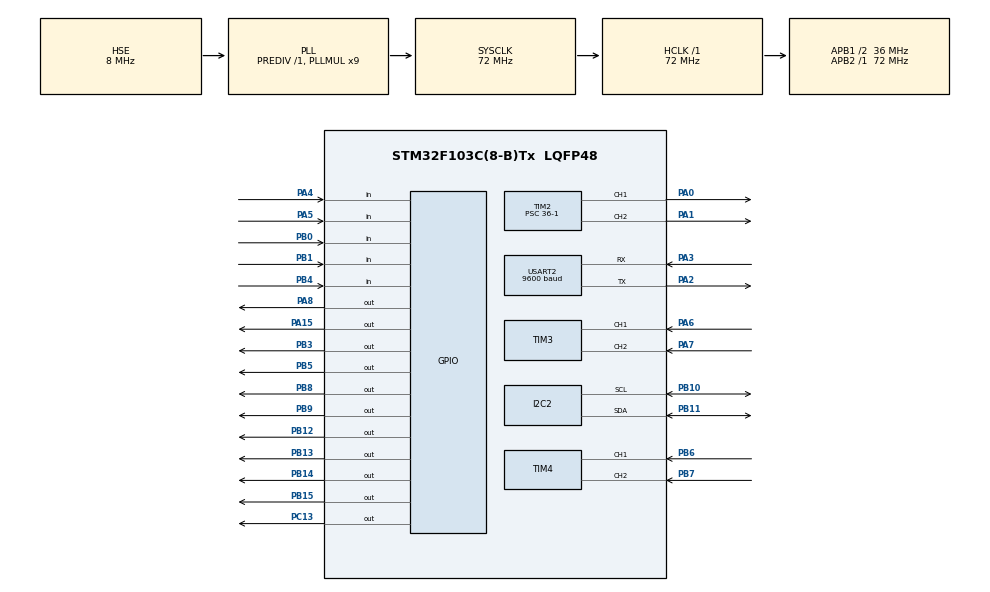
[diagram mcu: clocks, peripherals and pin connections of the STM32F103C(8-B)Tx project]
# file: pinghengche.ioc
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Dma.Request0=USART2_RX
Dma.Request1=USART2_TX
Dma.USART2_RX.0.Direction=DMA_PERIPH_TO_MEMORY
Dma.USART2_RX.0.Instance=DMA1_Channel6
Dma.USART2_RX.0.MemDataAlignment=DMA_MDATAALIGN_BYTE
Dma.USART2_RX.0.MemInc=DMA_MINC_ENABLE
Dma.USART2_RX.0.Mode=DMA_CIRCULAR
Dma.USART2_RX.0.PeriphDataAlignment=DMA_PDATAALIGN_BYTE
Dma.USART2_RX.0.PeriphInc=DMA_PINC_DISABLE
Dma.USART2_RX.0.Priority=DMA_PRIORITY_LOW
Dma.USART2_TX.1.Direction=DMA_MEMORY_TO_PERIPH
Dma.USART2_TX.1.Instance=DMA1_Channel7
Dma.USART2_TX.1.MemDataAlignment=DMA_MDATAALIGN_BYTE
Dma.USART2_TX.1.MemInc=DMA_MINC_ENABLE
Dma.USART2_TX.1.Mode=DMA_NORMAL
Dma.USART2_TX.1.PeriphDataAlignment=DMA_PDATAALIGN_BYTE
Dma.USART2_TX.1.PeriphInc=DMA_PINC_DISABLE
Dma.USART2_TX.1.Priority=DMA_PRIORITY_LOW
FREERTOS.Tasks01=OLED_Task,24,128,OLEDTask,Default,NULL,Dynamic,NULL,NULL;KEY_Task,40,128,KEYTask,Default,NULL,Dynamic,NULL,NULL;AnglePID_Task,24,128,AnglePIDTask,Default,NULL,Dynamic,NULL,NULL;SpeedPID_Task,24,128,SpeedPIDTask,Default,NULL,Dynamic,NULL,NULL;SERIAL_Task,24,256,SERIALTask,Default,NULL,Dynamic,NULL,NULL;Turn_Task,24,128,TurnTask,Default,NULL,Dynamic,NULL,NULL;NRF_Task,24,128,NRFTask,Default,NULL,Dynamic,NULL,NULL
FREERTOS.configTOTAL_HEAP_SIZE=8192
Mcu.Family=STM32F1
Mcu.Name=STM32F103C(8-B)Tx
Mcu.Package=LQFP48
NVIC.DMA1_Channel6_IRQn=true\:5\:0\:false\:false\:true\:true\:false\:true\:true
NVIC.DMA1_Channel7_IRQn=true\:5\:0\:false\:false\:true\:true\:false\:true\:true
NVIC.PriorityGroup=NVIC_PRIORITYGROUP_4
NVIC.TIM1_UP_IRQn=true\:15\:0\:false\:false\:true\:false\:false\:true\:true
NVIC.TimeBase=TIM1_UP_IRQn
NVIC.TimeBaseIP=TIM1
NVIC.USART2_IRQn=true\:5\:0\:false\:false\:true\:true\:true\:true\:true
PA0-WKUP.Signal=S_TIM2_CH1_ETR
PA1.Signal=S_TIM2_CH2
PA13.Mode=Serial_Wire
PA13.Signal=SYS_JTMS-SWDIO
PA14.Mode=Serial_Wire
PA14.Signal=SYS_JTCK-SWCLK
PA15.Signal=GPIO_Output
PA2.Mode=Asynchronous
PA2.Signal=USART2_TX
PA3.Mode=Asynchronous
PA3.Signal=USART2_RX
PA4.GPIO_PuPd=GPIO_PULLUP
PA4.Signal=GPIO_Input
PA5.GPIO_PuPd=GPIO_PULLUP
PA5.Signal=GPIO_Input
PA6.GPIO_PuPd=GPIO_PULLUP
PA6.Signal=S_TIM3_CH1
PA7.GPIO_PuPd=GPIO_PULLUP
PA7.Signal=S_TIM3_CH2
PA8.Signal=GPIO_Output
PB0.GPIO_PuPd=GPIO_PULLUP
PB0.Signal=GPIO_Input
PB1.GPIO_PuPd=GPIO_PULLUP
PB1.Signal=GPIO_Input
PB10.Mode=I2C
PB10.Signal=I2C2_SCL
PB11.Mode=I2C
PB11.Signal=I2C2_SDA
PB12.GPIO_Speed=GPIO_SPEED_FREQ_HIGH
PB12.PinState=GPIO_PIN_SET
PB12.Signal=GPIO_Output
PB13.GPIO_Speed=GPIO_SPEED_FREQ_HIGH
PB13.PinState=GPIO_PIN_SET
PB13.Signal=GPIO_Output
PB14.GPIO_Speed=GPIO_SPEED_FREQ_HIGH
PB14.PinState=GPIO_PIN_SET
PB14.Signal=GPIO_Output
PB15.GPIO_Speed=GPIO_SPEED_FREQ_HIGH
PB15.PinState=GPIO_PIN_SET
PB15.Signal=GPIO_Output
PB3.Signal=GPIO_Output
PB4.GPIO_PuPd=GPIO_PULLUP
PB4.Signal=GPIO_Input
PB5.Signal=GPIO_Output
PB6.Signal=S_TIM4_CH1
PB7.Signal=S_TIM4_CH2
PB8.GPIO_ModeDefaultOutputPP=GPIO_MODE_OUTPUT_OD
PB8.GPIO_PuPd=GPIO_NOPULL
PB8.GPIO_Speed=GPIO_SPEED_FREQ_HIGH
PB8.PinState=GPIO_PIN_SET
PB8.Signal=GPIO_Output
PB9.GPIO_ModeDefaultOutputPP=GPIO_MODE_OUTPUT_OD
PB9.GPIO_PuPd=GPIO_NOPULL
PB9.GPIO_Speed=GPIO_SPEED_FREQ_HIGH
PB9.PinState=GPIO_PIN_SET
PB9.Signal=GPIO_Output
PC13-TAMPER-RTC.GPIO_Speed=GPIO_SPEED_FREQ_HIGH
PC13-TAMPER-RTC.PinState=GPIO_PIN_SET
PC13-TAMPER-RTC.Signal=GPIO_Output
PC14-OSC32_IN.Mode=LSE-External-Oscillator
PC14-OSC32_IN.Signal=RCC_OSC32_IN
PC15-OSC32_OUT.Mode=LSE-External-Oscillator
PC15-OSC32_OUT.Signal=RCC_OSC32_OUT
PD0-OSC_IN.Mode=HSE-External-Oscillator
PD0-OSC_IN.Signal=RCC_OSC_IN
PD1-OSC_OUT.Mode=HSE-External-Oscillator
PD1-OSC_OUT.Signal=RCC_OSC_OUT
ProjectManager.HeapSize=0x200
ProjectManager.StackSize=0x400
ProjectManager.TargetToolchain=MDK-ARM V5.32
RCC.AHBFreq_Value=72000000
RCC.APB1CLKDivider=RCC_HCLK_DIV2
RCC.APB1Freq_Value=36000000
RCC.APB1TimFreq_Value=72000000
RCC.APB2Freq_Value=72000000
RCC.APB2TimFreq_Value=72000000
RCC.HCLKFreq_Value=72000000
RCC.PLLMUL=RCC_PLL_MUL9
RCC.PLLSourceVirtual=RCC_PLLSOURCE_HSE
RCC.SYSCLKFreq_VALUE=72000000
RCC.SYSCLKSource=RCC_SYSCLKSOURCE_PLLCLK
RCC.USBFreq_Value=72000000
SH.S_TIM2_CH1_ETR.0=TIM2_CH1,PWM Generation1 CH1
SH.S_TIM2_CH2.0=TIM2_CH2,PWM Generation2 CH2
SH.S_TIM3_CH1.0=TIM3_CH1,Encoder_Interface
SH.S_TIM3_CH2.0=TIM3_CH2,Encoder_Interface
SH.S_TIM4_CH1.0=TIM4_CH1,Encoder_Interface
SH.S_TIM4_CH2.0=TIM4_CH2,Encoder_Interface
TIM2.Channel-PWM\ Generation1\ CH1=TIM_CHANNEL_1
TIM2.Channel-PWM\ Generation2\ CH2=TIM_CHANNEL_2
TIM2.Period=99
TIM2.Prescaler=36-1
TIM3.IC2Filter=15
TIM4.IC1Filter=15
USART2.BaudRate=9600
USART2.VirtualMode=VM_ASYNC
VP_FREERTOS_VS_CMSIS_V2.Mode=CMSIS_V2
VP_SYS_VS_tim1.Mode=TIM1
board=custom

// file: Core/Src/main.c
/* USER CODE BEGIN Header */
/**
  ******************************************************************************
  * @file           : main.c
  * @brief          : Main program body
  ******************************************************************************
  * @attention
  *
  * Copyright (c) 2026 STMicroelectronics.
  * All rights reserved.
  *
  * This software is licensed under terms that can be found in the LICENSE file
  * in the root directory of this software component.
  * If no LICENSE file comes with this software, it is provided AS-IS.
  *
  ******************************************************************************
  */
/* USER CODE END Header */
#include "main.h"
#include "cmsis_os.h"
#include "dma.h"
#include "i2c.h"
#include "tim.h"
#include "usart.h"
#include "gpio.h"

/* USER CODE BEGIN Includes */
#include "OLED/OLED.h"
#include "MOTOR/MOTOR.h"
#include "ENCODER/ENCODER.h"
#include "SERIAL/SERIAL.h"
#include "MPU6050/MPU6050.h"
/* USER CODE END Includes */

void SystemClock_Config(void);
void MX_FREERTOS_Init(void);

int main(void)
{

  /* MCU Configuration--------------------------------------------------------*/

  /* Reset of all peripherals, Initializes the Flash interface and the Systick. */
  HAL_Init();

  /* Configure the system clock */
  SystemClock_Config();

  /* Initialize all configured peripherals */
  MX_GPIO_Init();
  MX_DMA_Init();
  MX_TIM2_Init();
  MX_TIM3_Init();
  MX_I2C2_Init();
  MX_TIM4_Init();
  MX_USART2_UART_Init();
  /* USER CODE BEGIN 2 */
	OLED_Init();
	Motor_Init();
	Encoder_Init();
	MPU6050_Init();
	Serial_Init();

  /* USER CODE END 2 */

  /* Init scheduler */
  osKernelInitialize();  /* Call init function for freertos objects (in cmsis_os2.c) */
  MX_FREERTOS_Init();

  /* Start scheduler */
  osKernelStart();

  /* We should never get here as control is now taken by the scheduler */

  /* Infinite loop */
  while (1)
  {

  }
}

void SystemClock_Config(void)
{
  RCC_OscInitTypeDef RCC_OscInitStruct = {0};
  RCC_ClkInitTypeDef RCC_ClkInitStruct = {0};

  /** Initializes the RCC Oscillators according to the specified parameters
  * in the RCC_OscInitTypeDef structure.
  */
  RCC_OscInitStruct.OscillatorType = RCC_OSCILLATORTYPE_HSE;
  RCC_OscInitStruct.HSEState = RCC_HSE_ON;
  RCC_OscInitStruct.HSEPredivValue = RCC_HSE_PREDIV_DIV1;
  RCC_OscInitStruct.HSIState = RCC_HSI_ON;
  RCC_OscInitStruct.PLL.PLLState = RCC_PLL_ON;
  RCC_OscInitStruct.PLL.PLLSource = RCC_PLLSOURCE_HSE;
  RCC_OscInitStruct.PLL.PLLMUL = RCC_PLL_MUL9;
  if (HAL_RCC_OscConfig(&RCC_OscInitStruct) != HAL_OK)
  {
    Error_Handler();
  }

  /** Initializes the CPU, AHB and APB buses clocks
  */
  RCC_ClkInitStruct.ClockType = RCC_CLOCKTYPE_HCLK|RCC_CLOCKTYPE_SYSCLK
                              |RCC_CLOCKTYPE_PCLK1|RCC_CLOCKTYPE_PCLK2;
  RCC_ClkInitStruct.SYSCLKSource = RCC_SYSCLKSOURCE_PLLCLK;
  RCC_ClkInitStruct.AHBCLKDivider = RCC_SYSCLK_DIV1;
  RCC_ClkInitStruct.APB1CLKDivider = RCC_HCLK_DIV2;
  RCC_ClkInitStruct.APB2CLKDivider = RCC_HCLK_DIV1;

  if (HAL_RCC_ClockConfig(&RCC_ClkInitStruct, FLASH_LATENCY_2) != HAL_OK)
  {
    Error_Handler();
  }
}

void HAL_TIM_PeriodElapsedCallback(TIM_HandleTypeDef *htim)
{
  if (htim->Instance == TIM1)
  {
    HAL_IncTick();
  }
}

void Error_Handler(void)
{
  __disable_irq();
  while (1)
  {
  }
}

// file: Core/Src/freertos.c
/* USER CODE BEGIN Header */
/**
  ******************************************************************************
  * File Name          : freertos.c
  * Description        : Code for freertos applications
  ******************************************************************************
  * @attention
  *
  * Copyright (c) 2026 STMicroelectronics.
  * All rights reserved.
  *
  * This software is licensed under terms that can be found in the LICENSE file
  * in the root directory of this software component.
  * If no LICENSE file comes with this software, it is provided AS-IS.
  *
  ******************************************************************************
  */
/* USER CODE END Header */

#include "FreeRTOS.h"
#include "task.h"
#include "main.h"
#include "cmsis_os.h"

/* USER CODE BEGIN Includes */
#include "OLED/OLED.h"
#include "LED/LED.h"
#include "KEY/KEY.h"
#include "MPU6050/MPU6050.h"
#include "MOTOR/MOTOR.h"
#include "ENCODER/ENCODER.h"
#include "SERIAL/SERIAL.h"
#include <math.h>
#include "PID.h"
#include <string.h>
#include <stdlib.h>
#include "NRF24L01/NRF24L01.h"
/* USER CODE END Includes */

/* USER CODE BEGIN Variables */
volatile int16_t AX,AY,AZ,GX,GY,GZ;//MPU6050结果数值
volatile float AngleAcc;//加速度计角度
volatile float AngleGyro;//陀螺仪角度
volatile int16_t PWML,PWMR;//左右PWM输入值
volatile int16_t AvePWM,DifPWM;//平均PWM和差分PWM
volatile float SpeedL,SpeedR;//左右电机速度值
volatile float AveSpeed,DifSpeed;//平均Speed和差分Speed
volatile float Angle;//倾角
volatile uint16_t RunFlag = 0;//平衡车功能运行标志位

osMutexId_t NRFMutexHandle;
const osMutexAttr_t NRFMutex_attributes = {
    .name = "NRFMutex"
};

volatile PID_t AnglePID = {//角度环PID参数
	.Kp = 5,
	.Ki = 0.25,
	.Kd = 5,

	.OutMax = 100,
	.OutMin = -100,

	.Outoffset = 3,

	.ErrorIntMax = 200,
	.ErrorIntMin = -200,
};

volatile PID_t SpeedPID = {//速度环PID参数
	.Kp = 3,
	.Ki = 0.05,
	.Kd = 0,

	.OutMax = 20,
	.OutMin = -20,

	.ErrorIntMax = 50,
	.ErrorIntMin = -50,
};

volatile PID_t TurnPID = {//转向环PID参数
	.Kp = 4,
	.Ki = 3.0,
	.Kd = 0,

	.OutMax = 50,
	.OutMin = -50,

	.ErrorIntMax = 10,
	.ErrorIntMin = -10,
};
/* USER CODE END Variables */
/* Definitions for OLED_Task */
osThreadId_t OLED_TaskHandle;
const osThreadAttr_t OLED_Task_attributes = {
  .name = "OLED_Task",
  .stack_size = 128 * 4,
  .priority = (osPriority_t) osPriorityNormal,
};
/* Definitions for KEY_Task */
osThreadId_t KEY_TaskHandle;
const osThreadAttr_t KEY_Task_attributes = {
  .name = "KEY_Task",
  .stack_size = 128 * 4,
  .priority = (osPriority_t) osPriorityHigh,
};
/* Definitions for AnglePID_Task */
osThreadId_t AnglePID_TaskHandle;
const osThreadAttr_t AnglePID_Task_attributes = {
  .name = "AnglePID_Task",
  .stack_size = 128 * 4,
  .priority = (osPriority_t) osPriorityNormal,
};
/* Definitions for SpeedPID_Task */
osThreadId_t SpeedPID_TaskHandle;
const osThreadAttr_t SpeedPID_Task_attributes = {
  .name = "SpeedPID_Task",
  .stack_size = 128 * 4,
  .priority = (osPriority_t) osPriorityNormal,
};
/* Definitions for SERIAL_Task */
osThreadId_t SERIAL_TaskHandle;
const osThreadAttr_t SERIAL_Task_attributes = {
  .name = "SERIAL_Task",
  .stack_size = 256 * 4,
  .priority = (osPriority_t) osPriorityNormal,
};
/* Definitions for Turn_Task */
osThreadId_t Turn_TaskHandle;
const osThreadAttr_t Turn_Task_attributes = {
  .name = "Turn_Task",
  .stack_size = 128 * 4,
  .priority = (osPriority_t) osPriorityNormal,
};
/* Definitions for NRF_Task */
osThreadId_t NRF_TaskHandle;
const osThreadAttr_t NRF_Task_attributes = {
  .name = "NRF_Task",
  .stack_size = 128 * 4,
  .priority = (osPriority_t) osPriorityNormal,
};

void OLEDTask(void *argument);
void KEYTask(void *argument);
void AnglePIDTask(void *argument);
void SpeedPIDTask(void *argument);
void SERIALTask(void *argument);
void TurnTask(void *argument);
void NRFTask(void *argument);

void MX_FREERTOS_Init(void); /* (MISRA C 2004 rule 8.1) */

void MX_FREERTOS_Init(void) {
  /* USER CODE BEGIN Init */
	NRF24L01_Init();
	NRFMutexHandle = osMutexNew(&NRFMutex_attributes);
  /* USER CODE END Init */

  /* Create the thread(s) */
  /* creation of OLED_Task */
  OLED_TaskHandle = osThreadNew(OLEDTask, NULL, &OLED_Task_attributes);

  /* creation of KEY_Task */
  KEY_TaskHandle = osThreadNew(KEYTask, NULL, &KEY_Task_attributes);

  /* creation of AnglePID_Task */
  AnglePID_TaskHandle = osThreadNew(AnglePIDTask, NULL, &AnglePID_Task_attributes);

  /* creation of SpeedPID_Task */
  SpeedPID_TaskHandle = osThreadNew(SpeedPIDTask, NULL, &SpeedPID_Task_attributes);

  /* creation of SERIAL_Task */
  SERIAL_TaskHandle = osThreadNew(SERIALTask, NULL, &SERIAL_Task_attributes);

  /* creation of Turn_Task */
  Turn_TaskHandle = osThreadNew(TurnTask, NULL, &Turn_Task_attributes);

  /* creation of NRF_Task */
  NRF_TaskHandle = osThreadNew(NRFTask, NULL, &NRF_Task_attributes);

}

void OLEDTask(void *argument)
{
  /* USER CODE BEGIN OLEDTask */
	uint32_t ticks = osKernelGetTickCount();
  /* Infinite loop */
  for(;;)
  {
    ticks += 50; // 设定绝对周期为 50ms
    osDelayUntil(ticks); // 无论任务执行了多久，都会在固定的 50ms 节点唤醒

		OLED_Clear();
		OLED_Printf(0, 0, OLED_6X8, "Angle");
		OLED_Printf(0, 8, OLED_6X8, "P:%05.2f", AnglePID.Kp);					//鏄剧ずKp
		OLED_Printf(0, 16, OLED_6X8, "I:%05.2f", AnglePID.Ki);				//鏄剧ずKi
		OLED_Printf(0, 24, OLED_6X8, "D:%05.2f", AnglePID.Kd);				//鏄剧ずKd
		OLED_Printf(0, 32, OLED_6X8, "T:%05.2f", AnglePID.Target);		//鏄剧ず璁惧畾鍊�
		OLED_Printf(0, 40, OLED_6X8, "A:%05.2f", Angle);			//鏄剧ず瑙掑害浠ｆ浛瀹為檯鍊硷紙鍦ㄩ潪骞宠　鍔熻兘鐘舵€佷篃鑳藉埛鏂帮級
		OLED_Printf(0, 48, OLED_6X8, "O:%05.2f", AnglePID.Out);			//鏄剧ず杈撳嚭鍊�

		OLED_Printf(50, 0, OLED_6X8, "Speed");
		OLED_Printf(50, 8, OLED_6X8, "%05.2f", SpeedPID.Kp);					//鏄剧ずKp
		OLED_Printf(50, 16, OLED_6X8, "%05.2f", SpeedPID.Ki);				//鏄剧ずKi
		OLED_Printf(50, 24, OLED_6X8, "%05.2f", SpeedPID.Kd);				//鏄剧ずKd
		OLED_Printf(50, 32, OLED_6X8, "%05.2f", SpeedPID.Target);		//鏄剧ず璁惧畾鍊�
		OLED_Printf(50, 40, OLED_6X8, "%05.2f", AveSpeed);			//鏄剧ず骞冲潎閫熷害浠ｆ浛瀹為檯鍊硷紙鍦ㄩ潪骞宠　鍔熻兘鐘舵€佷篃鑳藉埛鏂帮級
		OLED_Printf(50, 48, OLED_6X8, "%05.2f", SpeedPID.Out);			//鏄剧ず杈撳嚭鍊�

		OLED_Printf(88, 0, OLED_6X8, "Turn");
		OLED_Printf(88, 8, OLED_6X8, "%05.2f", TurnPID.Kp);					//鏄剧ずKp
		OLED_Printf(88, 16, OLED_6X8, "%05.2f", TurnPID.Ki);				//鏄剧ずKi
		OLED_Printf(88, 24, OLED_6X8, "%05.2f", TurnPID.Kd);				//鏄剧ずKd
		OLED_Printf(88, 32, OLED_6X8, "%05.2f", TurnPID.Target);		//鏄剧ず璁惧畾鍊�
		OLED_Printf(88, 40, OLED_6X8, "%05.2f", DifSpeed);			//鏄剧ず宸垎閫熷害瀹為檯鍊硷紙鍦ㄩ潪骞宠　鍔熻兘鐘舵€佷篃鑳藉埛鏂帮級
		OLED_Printf(88, 48, OLED_6X8, "%05.2f", TurnPID.Out);			//鏄剧ず杈撳嚭鍊�

		OLED_Printf(0, 56, OLED_6X8, "GY:%d", GY);			//鏄剧ず杈撳嚭鍊�

		/*OLED鏇存柊*/
		OLED_Update();
  }
  /* USER CODE END OLEDTask */
}

void KEYTask(void *argument)
{
  /* USER CODE BEGIN KEYTask */
	uint32_t ticks = osKernelGetTickCount();
  /* Infinite loop */
  for(;;)
  {
    ticks += 1; // 设定绝对周期为 10ms
    osDelayUntil(ticks); // 无论任务执行了多久，都会在固定的 10ms 节点唤醒

		//显示平衡车状态
		if(RunFlag)
		{
			onLED(GPIOC,GPIO_PIN_13);
		}
		else
		{
			offLED(GPIOC,GPIO_PIN_13);
		}

		switch(Key_Scan())
		{
			case 1:
				if(RunFlag)
				{
					RunFlag = 0;
				}
				else{
					PID_Init(&AnglePID);
					PID_Init(&SpeedPID);
					PID_Init(&TurnPID);
					RunFlag = 1;
				}
			break;
			case 2:																	break;
			case 3: 																break;
			case 4: 																break;
			default:																break;
		}
  }
  /* USER CODE END KEYTask */
}

void AnglePIDTask(void *argument)
{
  /* USER CODE BEGIN AnglePIDTask */
	uint32_t ticks = osKernelGetTickCount();
	float alpha = 0.01;//用于计算角度值时的加权参数
  /* Infinite loop */
  for(;;)
  {
    ticks += 10; // 设定绝对周期为 10ms
    osDelayUntil(ticks); // 无论任务执行了多久，都会在固定的 10ms 节点唤醒

		MPU6050_GetData(&AX, &AY, &AZ, &GX, &GY, &GZ);

		GY -= 14;

		AngleAcc = -atan2( AX , AZ ) / 3.1415926535 * 180;

		AngleGyro =Angle + GY / 32768.0 * 2000 * 0.01;

		Angle = alpha * AngleAcc + (1 - alpha) * AngleGyro;

		//当小车倒地后自动停止平衡车功能
		if(Angle >= 50 || Angle <= -50)
		{
			RunFlag = 0;
		}

		//当RunFlag置一时启动平衡车功能
		if(RunFlag)
		{
			AnglePID.Actual = Angle;
			PID_Update(&AnglePID);
			AvePWM = -AnglePID.Out;

			PWML =  AvePWM + DifPWM / 2;
			PWMR =  AvePWM - DifPWM / 2;

			if(PWML > 100) {PWML = 100;} else if(PWML < -100){PWML = -100;}
			if(PWMR > 100) {PWMR = 100;} else if(PWMR < -100){PWMR = -100;}

			Motor_SetLPWM(PWML);
			Motor_SetRPWM(PWMR);
		}
		else
		{
			Motor_SetLPWM(0);
			Motor_SetRPWM(0);
		}
  }
  /* USER CODE END AnglePIDTask */
}

void SpeedPIDTask(void *argument)
{
  /* USER CODE BEGIN SpeedPIDTask */
	uint32_t ticks = osKernelGetTickCount();
  /* Infinite loop */
  for(;;)
  {
    ticks += 50; // 设定绝对周期为 50ms
    osDelayUntil(ticks); // 无论任务执行了多久，都会在固定的 50ms 节点唤醒

		//1为左侧编码器，编码器有44个极性，0.05为读取周期，9.27666为减速比，单位rad/s
		SpeedL = Encoder_Get(1) / 44.0 / 0.05 / 9.27666;
		SpeedR = Encoder_Get(2) / 44.0 / 0.05 / 9.27666;

		AveSpeed = ( SpeedL + SpeedR ) / 2;
		DifSpeed =  SpeedL - SpeedR;

		//当RunFlag置一时启动平衡车功能
		if(RunFlag)
		{
			SpeedPID.Actual = AveSpeed;
			PID_Update(&SpeedPID);
			AnglePID.Target = SpeedPID.Out;
		}

  }
  /* USER CODE END SpeedPIDTask */
}

void SERIALTask(void *argument)
{
  /* USER CODE BEGIN SERIALTask */
	uint32_t ticks = osKernelGetTickCount();
  /* Infinite loop */
  for(;;)
  {
		ticks += 1; // 设定绝对周期为 1ms
    osDelayUntil(ticks); // 无论任务执行了多久，都会在固定的 1ms 节点唤醒

    Serial_Process();
		Serial_Printf("[plot,%f,%f,%f]",AnglePID.ErrorInt,SpeedPID.ErrorInt,TurnPID.ErrorInt);
  }
  /* USER CODE END SERIALTask */
}

void TurnTask(void *argument)
{
  /* USER CODE BEGIN TurnTask */
	uint32_t ticks = osKernelGetTickCount();
  /* Infinite loop */
  for(;;)
  {
    ticks += 50; // 设定绝对周期为 10ms
    osDelayUntil(ticks); // 无论任务执行了多久，都会在固定的 10ms 节点唤醒

		if(RunFlag)
		{
			TurnPID.Actual = DifSpeed;
			PID_Update(&TurnPID);
			DifPWM = TurnPID.Out;
		}

  }
  /* USER CODE END TurnTask */
}

void NRFTask(void *argument)
{
  /* USER CODE BEGIN NRFTask */
  uint32_t ticks = osKernelGetTickCount();

  /* Infinite loop */
  for(;;)
  {
    ticks += 50; // 采样间隔 100ms
    osDelayUntil(ticks);

		uint8_t ret = NRF24L01_Receive();

		if (ret == 1)
		{
			int8_t LH = NRF24L01_RxPacket[0];
			int8_t LV = NRF24L01_RxPacket[1];
			int8_t RH = NRF24L01_RxPacket[2];
			int8_t RV = NRF24L01_RxPacket[3];

			taskENTER_CRITICAL();

			SpeedPID.Target = LV / 40.0;   /* 前后 */
			TurnPID.Target = RH / 25.0;    /* 转弯 */

			(void)LH; (void)RV;
			taskEXIT_CRITICAL();
		}

//		else if (ret == 2 || ret == 3)
//		{
//				/*驱动已自动重新初始化，可按需重试或记录*/
//		}

		/*-----------发送部分-----------*/

  }
  /* USER CODE END NRFTask */
}

/* USER CODE BEGIN Application */

/* 覆盖 SERIAL.c 中的 __weak Serial_OnCommand */
void Serial_OnCommand(char *cmd)
{
    if (cmd == NULL || *cmd == '\0') return;

    /* 注意：SERIAL.c 传入的 cmd 已经去掉了首尾的 '[' 和 ']'，并且 \r \n \t \\ 已被还原 */

    char *Tag = strtok(cmd, ",");
    if (Tag == NULL) return;

    if (strcmp(Tag, "key") == 0)
    {
        char *Name   = strtok(NULL, ",");
        char *Action = strtok(NULL, ",");
        (void)Name; (void)Action;
        /* 这里可以执行按键动作 */
    }
    else if (strcmp(Tag, "slider") == 0)
    {
        char *Name  = strtok(NULL, ",");
        char *Value = strtok(NULL, ",");
        if (Name == NULL || Value == NULL) return;

        /* 更新 PID 参数时进入临界区，避免 MOTORTask 正在 PID_Update 中途被打断 */
        taskENTER_CRITICAL();

        if (strcmp(Name, "AngleKp") == 0)
        {
            AnglePID.Kp = atof(Value);
        }
        else if (strcmp(Name, "AngleKi") == 0)
        {
            AnglePID.Ki = atof(Value);
        }
        else if (strcmp(Name, "AngleKd") == 0)
        {
            AnglePID.Kd = atof(Value);
        }
				else if (strcmp(Name, "SpeedKp") == 0)
        {
            SpeedPID.Kp = atof(Value);
        }
        else if (strcmp(Name, "SpeedKi") == 0)
        {
            SpeedPID.Ki = atof(Value);
        }
        else if (strcmp(Name, "SpeedKd") == 0)
        {
            SpeedPID.Kd = atof(Value);
        }
				else if (strcmp(Name, "TurnKp") == 0)
        {
            TurnPID.Kp = atof(Value);
        }
        else if (strcmp(Name, "TurnKi") == 0)
        {
            TurnPID.Ki = atof(Value);
        }
        else if (strcmp(Name, "TurnKd") == 0)
        {
            TurnPID.Kd = atof(Value);
        }
				else if (strcmp(Name, "Offset") == 0)
        {
            AnglePID.Outoffset = atof(Value);
        }

        taskEXIT_CRITICAL();
    }
    else if (strcmp(Tag, "joystick") == 0)
    {
        char *sLH = strtok(NULL, ",");
        char *sLV = strtok(NULL, ",");
        char *sRH = strtok(NULL, ",");
        char *sRV = strtok(NULL, ",");
        if (sLH == NULL || sLV == NULL || sRH == NULL || sRV == NULL) return;

        int8_t LH = (int8_t)atoi(sLH);
        int8_t LV = (int8_t)atoi(sLV);
        int8_t RH = (int8_t)atoi(sRH);
        int8_t RV = (int8_t)atoi(sRV);
        (void)LH; (void)RV;   /* 暂时没用 */

        taskENTER_CRITICAL();

        SpeedPID.Target = LV / 40.0;   /* 前后 */
        TurnPID.Target = RH / 25.0;    /* 转弯 */

        taskEXIT_CRITICAL();

    }

    /* 其余命令不处理，不回调默认实现（默认实现是回显，容易刷屏） */
}

/* USER CODE END Application */
